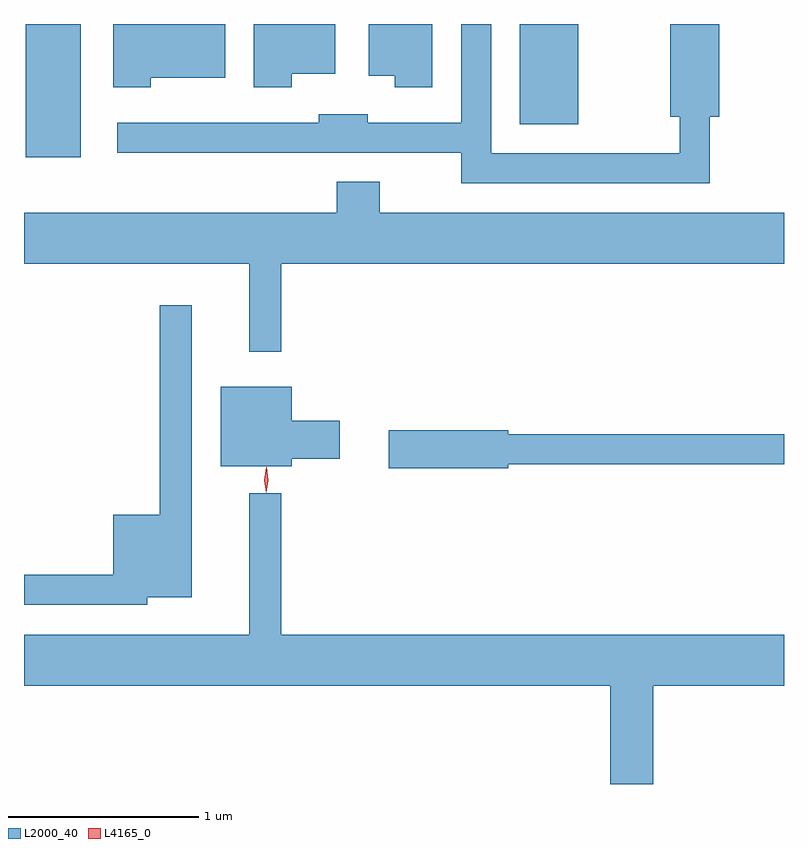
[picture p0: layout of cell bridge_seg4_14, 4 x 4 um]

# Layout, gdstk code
import gdstk
lib = gdstk.Library(unit=1e-6, precision=1e-09)
def R(c, l, rs):  # rectangles x0, y0, x1, y1
    for r in rs: c.add(gdstk.rectangle(r[:2], r[2:], *l))
def P(c, l, *ps):  # polygons
    for p in ps: c.add(gdstk.Polygon(p, *l))
L2000_40 = (2000, 40)
L4165_0 = (4165, 0)

bridge_seg4_14 = lib.new_cell('bridge_seg4_14')
R(bridge_seg4_14, L2000_40, [(1169.066,1268.656,1169.354,1269.358), (1171.666,1268.831,1171.974,1269.358)])
P(bridge_seg4_14, L2000_40, [(1169.724,1269.076),(1170.114,1269.076),(1170.114,1269.358),(1169.526,1269.358),(1169.526,1269.026),(1169.724,1269.026)],
  [(1171.204,1269.358),(1170.871,1269.358),(1170.871,1269.086),(1171.006,1269.086),(1171.006,1269.026),(1171.204,1269.026)],
  [(1172.664,1268.871),(1172.714,1268.871),(1172.714,1269.358),(1172.456,1269.358),(1172.456,1268.871),(1172.506,1268.871),(1172.506,1268.679),(1171.514,1268.679),(1171.514,1269.358),(1171.356,1269.358),(1171.356,1268.839),(1170.864,1268.839),(1170.864,1268.884),(1170.606,1268.884),(1170.606,1268.839),(1169.548,1268.839),(1169.548,1268.681),(1171.356,1268.681),(1171.356,1268.521),(1172.664,1268.521)],
  [(1170.464,1269.096),(1170.694,1269.096),(1170.694,1269.358),(1170.266,1269.358),(1170.266,1269.026),(1170.464,1269.026)],
  [(1170.409,1268.096),(1173.056,1268.096),(1173.056,1268.364),(1170.929,1268.364),(1170.929,1268.529),(1170.701,1268.529),(1170.701,1268.364),(1169.056,1268.364),(1169.056,1268.096),(1170.241,1268.096),(1170.241,1267.633),(1170.409,1267.633)],
  [(1169.704,1266.341),(1169.939,1266.341),(1169.939,1267.878),(1169.771,1267.878),(1169.771,1266.774),(1169.526,1266.774),(1169.526,1266.459),(1169.056,1266.459),(1169.056,1266.301),(1169.704,1266.301)],
  [(1170.464,1267.071),(1170.719,1267.071),(1170.719,1267.269),(1170.464,1267.269),(1170.464,1267.449),(1170.091,1267.449),(1170.091,1267.031),(1170.464,1267.031)],
  [(1171.604,1267.041),(1173.056,1267.041),(1173.056,1267.199),(1171.604,1267.199),(1171.604,1267.219),(1170.976,1267.219),(1170.976,1267.021),(1171.604,1267.021)],
  [(1172.369,1265.876),(1173.056,1265.876),(1173.056,1266.144),(1170.409,1266.144),(1170.409,1266.888),(1170.241,1266.888),(1170.241,1266.144),(1169.056,1266.144),(1169.056,1265.876),(1172.141,1265.876),(1172.141,1265.358),(1172.369,1265.358)])
P(bridge_seg4_14, L4165_0, [(1170.33,1266.89),(1170.33,1266.89),(1170.321,1266.958),(1170.332,1267.025),(1170.332,1267.026),(1170.333,1267.025),(1170.341,1266.957),(1170.331,1266.89)])

lib.write_gds('bridge_seg4_14.gds')
